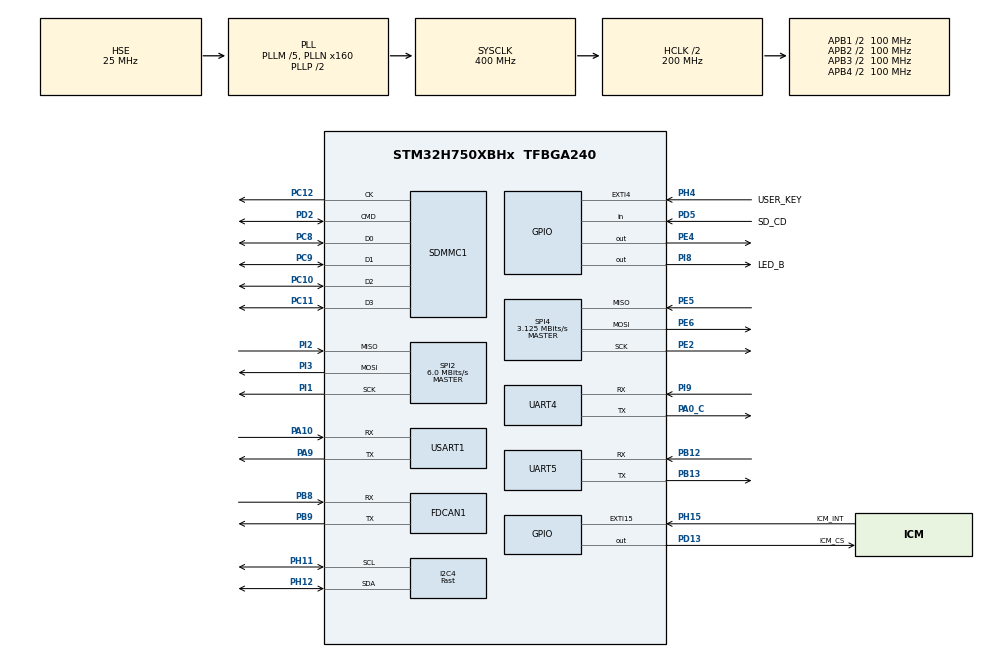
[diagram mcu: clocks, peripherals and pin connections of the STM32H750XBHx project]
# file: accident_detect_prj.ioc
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FATFS._FS_EXFAT=1
FATFS._FS_TINY=0
FATFS._MAX_SS=4096
FATFS._USE_LFN=1
FDCAN1.ClockCalibrationCCU=DISABLE
FDCAN1.DataPrescaler=24
FDCAN1.DataSyncJumpWidth=2
FDCAN1.DataTimeSeg1=9
FDCAN1.DataTimeSeg2=6
FDCAN1.FrameFormat=FDCAN_FRAME_FD_NO_BRS
FDCAN1.Mode=FDCAN_MODE_EXTERNAL_LOOPBACK
FDCAN1.NominalPrescaler=24
FDCAN1.NominalSyncJumpWidth=2
FDCAN1.NominalTimeSeg1=9
FDCAN1.NominalTimeSeg2=6
I2C4.I2C_Speed_Mode=I2C_Fast
I2C4.Timing=0x009034B6
Mcu.Family=STM32H7
Mcu.Name=STM32H750XBHx
Mcu.Package=TFBGA240
NVIC.EXTI15_10_IRQn=true\:0\:0\:false\:false\:true\:true\:true\:true
NVIC.EXTI4_IRQn=true\:0\:0\:true\:false\:true\:true\:true\:true
NVIC.PriorityGroup=NVIC_PRIORITYGROUP_4
NVIC.SDMMC1_IRQn=true\:0\:0\:false\:false\:true\:true\:true\:true
NVIC.SPI2_IRQn=true\:0\:0\:false\:false\:true\:true\:true\:true
NVIC.TIM7_IRQn=true\:4\:0\:true\:false\:true\:true\:true\:true
NVIC.UART4_IRQn=true\:5\:0\:true\:false\:true\:true\:true\:true
NVIC.USART1_IRQn=true\:0\:0\:false\:false\:true\:true\:true\:true
PA0_C.Mode=Asynchronous
PA0_C.Signal=UART4_TX
PA10.Mode=Asynchronous
PA10.Signal=USART1_RX
PA13\ (JTMS/SWDIO).Mode=Serial_Wire
PA13\ (JTMS/SWDIO).Signal=DEBUG_JTMS-SWDIO
PA14\ (JTCK/SWCLK).Mode=Serial_Wire
PA14\ (JTCK/SWCLK).Signal=DEBUG_JTCK-SWCLK
PA9.Mode=Asynchronous
PA9.Signal=USART1_TX
PB12.Mode=Asynchronous
PB12.Signal=UART5_RX
PB13.Mode=Asynchronous
PB13.Signal=UART5_TX
PB8.Mode=FDCAN_Activate
PB8.Signal=FDCAN1_RX
PB9.Mode=FDCAN_Activate
PB9.Signal=FDCAN1_TX
PC10.GPIO_PuPd=GPIO_PULLUP
PC10.Mode=SD_4_bits_Wide_bus
PC10.Signal=SDMMC1_D2
PC11.GPIO_PuPd=GPIO_PULLUP
PC11.Mode=SD_4_bits_Wide_bus
PC11.Signal=SDMMC1_D3
PC12.GPIO_PuPd=GPIO_PULLUP
PC12.Mode=SD_4_bits_Wide_bus
PC12.Signal=SDMMC1_CK
PC8.GPIO_PuPd=GPIO_PULLUP
PC8.Mode=SD_4_bits_Wide_bus
PC8.Signal=SDMMC1_D0
PC9.GPIO_PuPd=GPIO_PULLUP
PC9.Mode=SD_4_bits_Wide_bus
PC9.Signal=SDMMC1_D1
PD13.GPIO_Label=ICM_CS
PD13.GPIO_Speed=GPIO_SPEED_FREQ_VERY_HIGH
PD13.PinState=GPIO_PIN_SET
PD13.Signal=GPIO_Output
PD2.GPIO_PuPd=GPIO_PULLUP
PD2.Mode=SD_4_bits_Wide_bus
PD2.Signal=SDMMC1_CMD
PD5.GPIO_Label=SD_CD
PD5.Signal=GPIO_Input
PE2.Mode=Full_Duplex_Master
PE2.Signal=SPI4_SCK
PE4.Signal=GPIO_Output
PE5.Mode=Full_Duplex_Master
PE5.Signal=SPI4_MISO
PE6.Mode=Full_Duplex_Master
PE6.Signal=SPI4_MOSI
PH0-OSC_IN\ (PH0).Mode=HSE-External-Oscillator
PH0-OSC_IN\ (PH0).Signal=RCC_OSC_IN
PH1-OSC_OUT\ (PH1).Mode=HSE-External-Oscillator
PH1-OSC_OUT\ (PH1).Signal=RCC_OSC_OUT
PH11.Mode=I2C
PH11.Signal=I2C4_SCL
PH12.Mode=I2C
PH12.Signal=I2C4_SDA
PH15.GPIO_Label=ICM_INT
PH15.Signal=GPXTI15
PH4.GPIO_Label=USER_KEY
PH4.GPIO_ModeDefaultEXTI=GPIO_MODE_IT_FALLING
PH4.GPIO_PuPd=GPIO_NOPULL
PH4.Signal=GPXTI4
PI1.Mode=Full_Duplex_Master
PI1.Signal=SPI2_SCK
PI2.Mode=Full_Duplex_Master
PI2.Signal=SPI2_MISO
PI3.Mode=Full_Duplex_Master
PI3.Signal=SPI2_MOSI
PI8.GPIO_Label=LED_B
PI8.Signal=GPIO_Output
PI9.Mode=Asynchronous
PI9.Signal=UART4_RX
ProjectManager.HeapSize=0x200
ProjectManager.StackSize=0x400
ProjectManager.TargetToolchain=STM32CubeIDE
RCC.ADCFreq_Value=480000000
RCC.APB1Freq_Value=100000000
RCC.APB2Freq_Value=100000000
RCC.APB3Freq_Value=100000000
RCC.APB4Freq_Value=100000000
RCC.CortexFreq_Value=400000000
RCC.D1PPRE=RCC_APB3_DIV2
RCC.D2PPRE1=RCC_APB1_DIV2
RCC.D2PPRE2=RCC_APB2_DIV2
RCC.D3PPRE=RCC_APB4_DIV2
RCC.DIVM1=5
RCC.DIVM2=5
RCC.DIVM3=5
RCC.DIVN1=160
RCC.DIVN2=192
RCC.DIVN3=192
RCC.DIVP3=20
RCC.DIVQ2=10
RCC.DIVR2=10
RCC.FDCANCLockSelection=RCC_FDCANCLKSOURCE_PLL2
RCC.HCLKFreq_Value=200000000
RCC.HPRE=RCC_HCLK_DIV2
RCC.PLL2FRACN=0
RCC.PLL3FRACN=0
RCC.PLLFRACN=0
RCC.PLLSourceVirtual=RCC_PLLSOURCE_HSE
RCC.SDMMC1CLockSelection=RCC_SDMMCCLKSOURCE_PLL2
RCC.SPI123CLockSelection=RCC_SPI123CLKSOURCE_PLL3
RCC.SYSCLKFreq_VALUE=400000000
RCC.SYSCLKSource=RCC_SYSCLKSOURCE_PLLCLK
RCC.USBFreq_Value=400000000
SDMMC1.ClockDiv=4
SPI2.BaudRatePrescaler=SPI_BAUDRATEPRESCALER_8
SPI2.CLKPhase=SPI_PHASE_2EDGE
SPI2.CLKPolarity=SPI_POLARITY_HIGH
SPI2.CalculateBaudRate=6.0 MBits/s
SPI2.DataSize=SPI_DATASIZE_8BIT
SPI2.Direction=SPI_DIRECTION_2LINES
SPI2.Mode=SPI_MODE_MASTER
SPI2.VirtualType=VM_MASTER
SPI4.BaudRatePrescaler=SPI_BAUDRATEPRESCALER_32
SPI4.CLKPhase=SPI_PHASE_2EDGE
SPI4.CLKPolarity=SPI_POLARITY_HIGH
SPI4.CalculateBaudRate=3.125 MBits/s
SPI4.DataSize=SPI_DATASIZE_8BIT
SPI4.Direction=SPI_DIRECTION_2LINES
SPI4.Mode=SPI_MODE_MASTER
SPI4.VirtualType=VM_MASTER
TIM7.AutoReloadPreload=TIM_AUTORELOAD_PRELOAD_ENABLE
TIM7.Period=999
TIM7.Prescaler=999
USART1.VirtualMode-Asynchronous=VM_ASYNC
VP_FATFS_VS_SDIO.Mode=SDIO
VP_TIM7_VS_ClockSourceINT.Mode=Enable_Timer
board=custom

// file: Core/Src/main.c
/* USER CODE BEGIN Header */
/**
 ******************************************************************************
 * @file           : main.c
 * @brief          : Main program body
 ******************************************************************************
 * @attention
 *
 * Copyright (c) 2023 STMicroelectronics.
 * All rights reserved.
 *
 * This software is licensed under terms that can be found in the LICENSE file
 * in the root directory of this software component.
 * If no LICENSE file comes with this software, it is provided AS-IS.
 *
 ******************************************************************************
 */
/* USER CODE END Header */
#include "main.h"
#include "fatfs.h"
#include "fdcan.h"
#include "i2c.h"
#include "sdmmc.h"
#include "spi.h"
#include "tim.h"
#include "usart.h"
#include "gpio.h"

/* USER CODE BEGIN Includes */
#include "icm20948.h"
#include "Adafruit_ADXL375.h"
#include "cQueue.h"
#include "gps.h"
#include "math.h"

//#include "DS1302.h"

/* USER CODE END Includes */

/* USER CODE BEGIN PD */

//#define _DEBUG_
/* USER CODE END PD */

/* USER CODE BEGIN PV */
//extern int16_t accel_data[3];
//extern int16_t gyro_data[3];

volatile uint8_t userKey1Flag = 0;
volatile uint8_t dataReadyFlag = 0;
volatile int dataReadyCount = 0;
volatile int magFlag = 0;

extern uint8_t gps_rx_data;
extern uint8_t gps_rx_buffer[GPSBUFSIZE];
extern uint8_t gps_rx_index;
extern uint8_t gps_cplt_flag;
extern GPS_t GPS;

extern flag = 0;

axises my_gyro;
axises my_accel;
axises my_mag;
int16_t mag_data[3];
volatile IMUDATA imuData ; //= {0,0,0,0,0,0,0,0,0,0,0};
IMUDATA* pIMUDATA;
volatile uint8_t startFlag = 0;
volatile uint8_t spi4Flag = 0;
volatile uint8_t imuCalibrationFlag = 0;

uint8_t save_Count = 0;
volatile QueueType* cQ;
uint32_t pre_time = 0;

volatile char bt_rx_data = 0;
volatile char bt_rx_buffer[20] = {0,};

/* USER CODE END PV */

void SystemClock_Config(void);
void PeriphCommonClock_Config(void);
/* USER CODE BEGIN PFP */
#ifdef __GNUC__
//With GCC, small printf (option LD Linker->Libraries->Small printf set to 'Yes') calls __io_putchar()
#define PUTCHAR_PROTOTYPE int __io_putchar(int ch)
#else
#define PUTCHAR_PROTOTYPE int fputc(int ch, FILE *f)
#endif /* __GNUC__ */

int makeNewFileName();

int detectAccident(IMUDATA * data);

void HAL_UART_RxCpltCallback(UART_HandleTypeDef *huart)
{
  if(huart == &huart1){
    GPS_UART_CallBack();
  }
  if(huart == &huart5){

  }
}

void HAL_GPIO_EXTI_Callback (uint16_t GPIO_Pin)
{
  if (GPIO_Pin == GPIO_PIN_4)
  {
    userKey1Flag = 1;
    HAL_UART_Transmit(&huart4, "in\r\n", 4, 1000);
  }
  if (GPIO_Pin == GPIO_PIN_15)
  {
    imuCalibrationFlag = 1;
    if (startFlag)
    {
      spi4Flag = 1;
      dataReadyFlag = 1;
    }
  }
}

int isSDcard(){
  return HAL_GPIO_ReadPin(SD_CD_GPIO_Port, SD_CD_Pin);
}

/* USER CODE END PFP */

int main(void)
{
  /* USER CODE BEGIN 1 */
  char uart_buffer[100];
  cQ = createCQueue ();
  pIMUDATA = &imuData;
  IMUDATA* pImuForDetect;
  int imuDataSize = sizeof(imuData);
  /* USER CODE END 1 */

  /* MCU Configuration--------------------------------------------------------*/

  /* Reset of all peripherals, Initializes the Flash interface and the Systick. */
  HAL_Init();

  /* Configure the system clock */
  SystemClock_Config();

/* Configure the peripherals common clocks */
  PeriphCommonClock_Config();

  /* Initialize all configured peripherals */
  MX_GPIO_Init();
  MX_SDMMC1_SD_Init();
  MX_UART4_Init();
  MX_SPI2_Init();
  MX_TIM7_Init();
  MX_FATFS_Init();
  MX_FDCAN1_Init();
  MX_USART1_UART_Init();
  MX_SPI4_Init();
  MX_UART5_Init();
  MX_I2C4_Init();
  /* USER CODE BEGIN 2 */

  printf ("start main(0)\r\n");

  HAL_Delay (10);
  icm20948_init ();
  printf ("icm20948 ok(0)\r\n");

  HAL_Delay (10);

  ak09916_init ();
  printf ("ak09916 ok(2)\r\n");
  HAL_Delay(1000);

  ADXL375_begin ();
  printf ("adxl375 ok(3)\r\n");

  HAL_GPIO_WritePin (LED_B_GPIO_Port, LED_B_Pin, GPIO_PIN_RESET);
  GPS_Init();
  /* USER CODE END 2 */

  /* Infinite loop */
  /* USER CODE BEGIN WHILE */

  char fileName[12];
  int i = 0;
  uint32_t bw, br;
  int sd_check_flag = 0;

  int fileNameIndex = 0;

  do
  {
    fileNameIndex = makeNewFileName ();
  }
  while (fileNameIndex < 0);

  sprintf (fileName, "data%04d.bin", fileNameIndex);
  HAL_UART_Transmit (&huart4, (uint8_t*) fileName, 12, 0xFFFF);

#ifdef _DEBUG_
  printf("file name index : %d\r\n", fileNameIndex);
#endif

  HAL_GPIO_WritePin (LED_B_GPIO_Port, LED_B_Pin, GPIO_PIN_SET);

  while (1)
  {
    if (startFlag)
    {
      if (dataReadyFlag)
      {
        icm20948_accel_gyro_read (pIMUDATA);

        if( gps_cplt_flag ){
          gps_cplt_flag = 0;
          pIMUDATA->latitude = GPS.dec_latitude;
          pIMUDATA->longitude = GPS.dec_longitude;
        }

        if (magFlag >= 2)
        {
          magFlag = 0;
          ak09916_mag_read (pIMUDATA);
        }
        ADXL375_GETXYZ (pIMUDATA);
        pIMUDATA->time = HAL_GetTick ();
        int resultDA = detectAccident(pIMUDATA);
        uint8_t tx_bt = resultDA/10;
        if (resultDA > 20)
        {
          HAL_UART_Transmit(&huart5, &tx_bt, 1, 1000);
        }
        enCQueue (cQ, imuData);
        magFlag++;
        dataReadyFlag = 0;
      }

      int bufferSize = sizeOfCQueue (cQ);
      for (int i = 0; i < bufferSize; i++)
      {
        IMUDATA *writeData = deCQueue (cQ);
        f_write (&SDFile, (uint8_t*) writeData, imuDataSize, &bw);
        //HAL_UART_Transmit(&huart4, "s\r\n", 3, HAL_MAX_DELAY);
      }
    }

    if (userKey1Flag == 1)
    {
      if (startFlag == 1)
      {
        printf ("save end\r\n");
        f_close (&SDFile);
        fileNameIndex = makeNewFileName();
        sprintf (fileName, "data%04d.bin", fileNameIndex);
      }
      else
      {

        retSD = f_open (&SDFile, fileName, FA_OPEN_APPEND | FA_WRITE);

        if (retSD == FR_OK)
        {
          printf ("save start\r\n");
        }
        else
        {
          HAL_UART_Transmit (&huart4, fileName, 12, 0xFFFF);
          printf ("  Failed %d \r\n", retSD);
        }
      }

      if (startFlag)
      {
        HAL_GPIO_WritePin (LED_B_GPIO_Port, LED_B_Pin, GPIO_PIN_RESET);
      }
      else
      {
        HAL_GPIO_WritePin (LED_B_GPIO_Port, LED_B_Pin, GPIO_PIN_SET);
      }
      startFlag = !startFlag;
      HAL_Delay (500);

      userKey1Flag = 0;
    }

    /* USER CODE END WHILE */

  }
}

void SystemClock_Config(void)
{
  RCC_OscInitTypeDef RCC_OscInitStruct = {0};
  RCC_ClkInitTypeDef RCC_ClkInitStruct = {0};

  /** Supply configuration update enable
  */
  HAL_PWREx_ConfigSupply(PWR_LDO_SUPPLY);

  /** Configure the main internal regulator output voltage
  */
  __HAL_PWR_VOLTAGESCALING_CONFIG(PWR_REGULATOR_VOLTAGE_SCALE1);

  while(!__HAL_PWR_GET_FLAG(PWR_FLAG_VOSRDY)) {}

  /** Macro to configure the PLL clock source
  */
  __HAL_RCC_PLL_PLLSOURCE_CONFIG(RCC_PLLSOURCE_HSE);

  /** Initializes the RCC Oscillators according to the specified parameters
  * in the RCC_OscInitTypeDef structure.
  */
  RCC_OscInitStruct.OscillatorType = RCC_OSCILLATORTYPE_HSE;
  RCC_OscInitStruct.HSEState = RCC_HSE_ON;
  RCC_OscInitStruct.PLL.PLLState = RCC_PLL_ON;
  RCC_OscInitStruct.PLL.PLLSource = RCC_PLLSOURCE_HSE;
  RCC_OscInitStruct.PLL.PLLM = 5;
  RCC_OscInitStruct.PLL.PLLN = 160;
  RCC_OscInitStruct.PLL.PLLP = 2;
  RCC_OscInitStruct.PLL.PLLQ = 2;
  RCC_OscInitStruct.PLL.PLLR = 2;
  RCC_OscInitStruct.PLL.PLLRGE = RCC_PLL1VCIRANGE_2;
  RCC_OscInitStruct.PLL.PLLVCOSEL = RCC_PLL1VCOWIDE;
  RCC_OscInitStruct.PLL.PLLFRACN = 0;
  if (HAL_RCC_OscConfig(&RCC_OscInitStruct) != HAL_OK)
  {
    Error_Handler();
  }

  /** Initializes the CPU, AHB and APB buses clocks
  */
  RCC_ClkInitStruct.ClockType = RCC_CLOCKTYPE_HCLK|RCC_CLOCKTYPE_SYSCLK
                              |RCC_CLOCKTYPE_PCLK1|RCC_CLOCKTYPE_PCLK2
                              |RCC_CLOCKTYPE_D3PCLK1|RCC_CLOCKTYPE_D1PCLK1;
  RCC_ClkInitStruct.SYSCLKSource = RCC_SYSCLKSOURCE_PLLCLK;
  RCC_ClkInitStruct.SYSCLKDivider = RCC_SYSCLK_DIV1;
  RCC_ClkInitStruct.AHBCLKDivider = RCC_HCLK_DIV2;
  RCC_ClkInitStruct.APB3CLKDivider = RCC_APB3_DIV2;
  RCC_ClkInitStruct.APB1CLKDivider = RCC_APB1_DIV2;
  RCC_ClkInitStruct.APB2CLKDivider = RCC_APB2_DIV2;
  RCC_ClkInitStruct.APB4CLKDivider = RCC_APB4_DIV2;

  if (HAL_RCC_ClockConfig(&RCC_ClkInitStruct, FLASH_LATENCY_2) != HAL_OK)
  {
    Error_Handler();
  }
}

void PeriphCommonClock_Config(void)
{
  RCC_PeriphCLKInitTypeDef PeriphClkInitStruct = {0};

  /** Initializes the peripherals clock
  */
  PeriphClkInitStruct.PeriphClockSelection = RCC_PERIPHCLK_SDMMC|RCC_PERIPHCLK_FDCAN;
  PeriphClkInitStruct.PLL2.PLL2M = 5;
  PeriphClkInitStruct.PLL2.PLL2N = 192;
  PeriphClkInitStruct.PLL2.PLL2P = 2;
  PeriphClkInitStruct.PLL2.PLL2Q = 10;
  PeriphClkInitStruct.PLL2.PLL2R = 10;
  PeriphClkInitStruct.PLL2.PLL2RGE = RCC_PLL2VCIRANGE_2;
  PeriphClkInitStruct.PLL2.PLL2VCOSEL = RCC_PLL2VCOWIDE;
  PeriphClkInitStruct.PLL2.PLL2FRACN = 0;
  PeriphClkInitStruct.SdmmcClockSelection = RCC_SDMMCCLKSOURCE_PLL2;
  PeriphClkInitStruct.FdcanClockSelection = RCC_FDCANCLKSOURCE_PLL2;
  if (HAL_RCCEx_PeriphCLKConfig(&PeriphClkInitStruct) != HAL_OK)
  {
    Error_Handler();
  }
}

/* USER CODE BEGIN 4 */
PUTCHAR_PROTOTYPE
{
  /* Place your implementation of fputc here */
  /* e.g. write a character to the USART3 and Loop until the end of transmission */
  HAL_UART_Transmit (&huart4, (uint8_t*) &ch, 1, 0xFFFF);

  return ch;
}

int makeNewFileName(){
  static int fileIndex = 0;
  static char fileName[12] = {0,};

  if ((retSD = f_mount (&SDFatFS, SDPath, 0)) == FR_OK)
  {
    printf ("1. f_mount OK %d \r\n", retSD);
  }
  else
  {
    printf ("1. f_mount OK failed %d\r\n", retSD);
  }
  do
  {
    fileIndex++;
    sprintf (fileName, "data%04d.bin", fileIndex);
    retSD = f_open (&SDFile, fileName, FA_OPEN_EXISTING | FA_READ);
#ifdef _DEBUG_
    //HAL_UART_Transmit (&huart4, fileName, 20, HAL_MAX_DELAY);
    printf("data%04d,%d\r\n", fileIndex, retSD);
#endif

    HAL_Delay (10);
    if (retSD == FR_OK)
      f_close (&SDFile);
    else if ( retSD == FR_NO_FILE )
      break;
    else if ( retSD == FR_NOT_READY ){
      f_close (&SDFile);
      return -1;
    }
    else if ( retSD == FR_INT_ERR ){
      f_close (&SDFile);
      return -2;
    }
  }while (retSD == FR_OK);

  f_close (&SDFile);

  return fileIndex;
}

int detectAccident(IMUDATA * data){
  float acc_x = data->accel_x/2048.0;
  float acc_y = data->accel_y/2048.0;
  float acc_z = (data->accel_z-2048)/2048.0;
  float accel_result = acc_x*acc_x + acc_y*acc_y + acc_z*acc_z;
  if( accel_result >= 4 && accel_result < 196 ){
    return (int)(sqrt(accel_result)*10);

  }
  else if( accel_result >= 196){
    acc_x = data->accel200g_x/164.0;
    acc_y = data->accel200g_y/164.0;
    acc_z = (data->accel200g_z)/164.0;
    accel_result = acc_x*acc_x + acc_y*acc_y + acc_z*acc_z;
    return (int)(sqrt(accel_result)*10);
  }else{
    return 0;
  }
}

/* USER CODE END 4 */

void Error_Handler(void)
{
  /* USER CODE BEGIN Error_Handler_Debug */
  /* User can add his own implementation to report the HAL error return state */
  __disable_irq ();
  while (1)
  {
  }
  /* USER CODE END Error_Handler_Debug */
}
